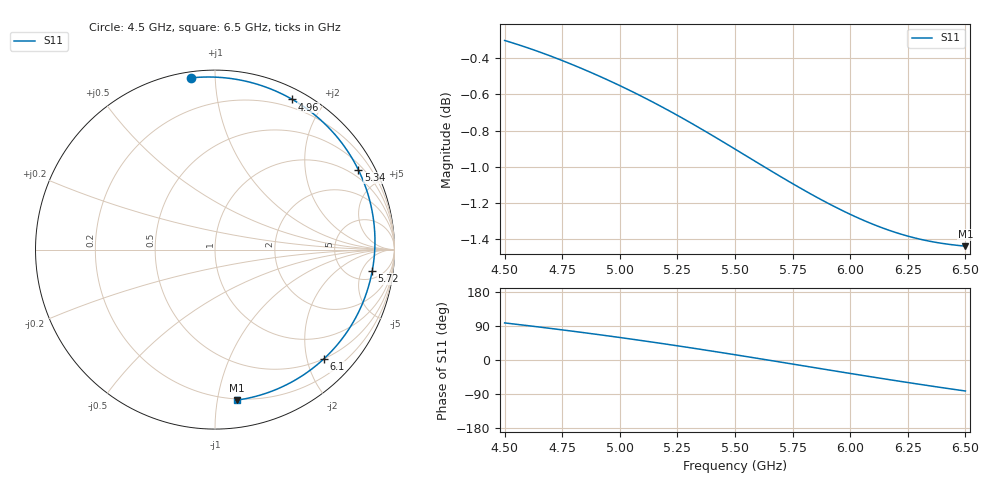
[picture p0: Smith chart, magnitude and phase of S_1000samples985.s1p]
! TOUCHSTONE file generated by CST MICROWAVE STUDIO
! Date and time: Sun Oct 30 00:17:09 2022
! Project name: L.cst
! Parameters = {Di=1.27; Epsilon_r=1.56; InnerDiameter=1.27; Length=2; Lf=10; Lg=60; OuterConductorThickness=0.2921; OuterDiameter=3.6; Wf=3; Wp=41.2; de=1.5; df=6.8; g=0.8; gx=4.82489; gy=4.02167; h=2.34; hf=1.524; px=10.8511; py=9.54417; w=9.7; wx=6.02623; wy=5.52249}
! Header version: 2018
! Port assignment regex: !\s*Touchstone port\s*([0-9]+)\s*=\s*(CST MWS port|CST DS port)\s*([0-9]+|Zmin|Zmax)\s*\(\"(.*)\"\)(\s*mode\s*([0-9]+))?.*
! Touchstone port assignment:
! Touchstone port 1 = CST MWS port 1 ("")
# GHz S DB R 50
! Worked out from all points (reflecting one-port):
!   101 points, 4.5 GHz to 6.5 GHz, reference 50 ohm
!   lowest |S11| = -1.4 dB at 6.5 GHz (marker M1), VSWR 12.11, Z = 9.54 - j56.8 ohm
!   phase of S11 starts at 98 deg and turns -180 deg over the sweep
!   S11 on the Smith chart (normalised r, x): 4.5 GHz: 0.03, +0.87; 4.96 GHz: 0.11, +1.64; 5.34 GHz: 0.69, +3.73; 5.72 GHz: 7, -8; 6.1 GHz: 0.50, -2.31; 6.5 GHz: 0.19, -1.14
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4.5  -0.30 97.8
4.58  -0.33 92.1
4.64  -0.36 87.8
4.76  -0.42 78.7
4.86  -0.47 70.9
4.96  -0.53 62.7
5  -0.55 59.4
5.12  -0.63 49.1
5.18  -0.67 43.8
5.26  -0.72 36.5
5.34  -0.78 29.1
5.42  -0.84 21.6
5.5  -0.90 13.9
5.56  -0.95 8.0
5.62  -0.99 2.2
5.72  -1.07 -7.7
5.76  -1.10 -11.7
5.82  -1.14 -17.7
5.88  -1.19 -23.6
5.94  -1.23 -29.6
6  -1.26 -35.5
6.1  -1.32 -45.2
6.18  -1.36 -52.8
6.26  -1.39 -60.3
6.32  -1.40 -65.8
6.38  -1.42 -71.3
6.44  -1.43 -76.6
6.5  -1.44 -81.9
